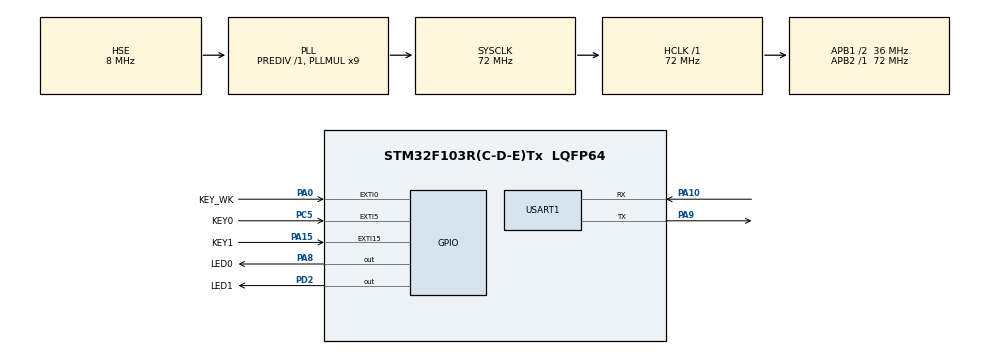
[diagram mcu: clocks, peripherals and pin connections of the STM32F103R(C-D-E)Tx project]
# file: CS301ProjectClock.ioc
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Mcu.Family=STM32F1
Mcu.Name=STM32F103R(C-D-E)Tx
Mcu.Package=LQFP64
NVIC.EXTI0_IRQn=true\:1\:0\:true\:false\:true\:true\:true
NVIC.EXTI15_10_IRQn=true\:1\:2\:true\:false\:true\:true\:true
NVIC.EXTI9_5_IRQn=true\:1\:1\:true\:false\:true\:true\:true
NVIC.PriorityGroup=NVIC_PRIORITYGROUP_2
NVIC.TIM3_IRQn=true\:0\:0\:false\:false\:true\:true\:true
NVIC.USART1_IRQn=true\:0\:0\:false\:false\:true\:true\:true
PA0-WKUP.GPIO_Label=KEY_WK
PA0-WKUP.GPIO_PuPd=GPIO_PULLDOWN
PA0-WKUP.Signal=GPXTI0
PA10.Mode=Asynchronous
PA10.Signal=USART1_RX
PA13.Mode=Serial_Wire
PA13.Signal=SYS_JTMS-SWDIO
PA14.Mode=Serial_Wire
PA14.Signal=SYS_JTCK-SWCLK
PA15.GPIO_Label=KEY1
PA15.GPIO_ModeDefaultEXTI=GPIO_MODE_IT_FALLING
PA15.GPIO_PuPd=GPIO_PULLUP
PA15.Signal=GPXTI15
PA8.GPIO_Label=LED0
PA8.Signal=GPIO_Output
PA9.Mode=Asynchronous
PA9.Signal=USART1_TX
PC5.GPIO_Label=KEY0
PC5.GPIO_ModeDefaultEXTI=GPIO_MODE_IT_FALLING
PC5.GPIO_PuPd=GPIO_PULLUP
PC5.Signal=GPXTI5
PD0-OSC_IN.Mode=HSE-External-Oscillator
PD0-OSC_IN.Signal=RCC_OSC_IN
PD1-OSC_OUT.Mode=HSE-External-Oscillator
PD1-OSC_OUT.Signal=RCC_OSC_OUT
PD2.GPIO_Label=LED1
PD2.Signal=GPIO_Output
ProjectManager.HeapSize=0x200
ProjectManager.StackSize=0x400
ProjectManager.TargetToolchain=SW4STM32
RCC.AHBFreq_Value=72000000
RCC.APB1CLKDivider=RCC_HCLK_DIV2
RCC.APB1Freq_Value=36000000
RCC.APB1TimFreq_Value=72000000
RCC.APB2Freq_Value=72000000
RCC.APB2TimFreq_Value=72000000
RCC.HCLKFreq_Value=72000000
RCC.PLLMUL=RCC_PLL_MUL9
RCC.PLLSourceVirtual=RCC_PLLSOURCE_HSE
RCC.SYSCLKFreq_VALUE=72000000
RCC.SYSCLKSource=RCC_SYSCLKSOURCE_PLLCLK
RCC.USBFreq_Value=72000000
TIM3.Period=9999
TIM3.Prescaler=7199
USART1.VirtualMode=VM_ASYNC
VP_TIM3_VS_ClockSourceINT.Mode=Internal
board=custom

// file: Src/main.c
/* USER CODE BEGIN Header */
/**
  ******************************************************************************
  * @file           : main.c
  * @brief          : Main program body
  ******************************************************************************
  * @attention
  *
  * <h2><center>&copy; Copyright (c) 2019 STMicroelectronics.
  * All rights reserved.</center></h2>
  *
  * This software component is licensed by ST under BSD 3-Clause license,
  * the "License"; You may not use this file except in compliance with the
  * License. You may obtain a copy of the License at:
  *                        opensource.org/licenses/BSD-3-Clause
  *
  ******************************************************************************
  */
/* USER CODE END Header */

#include "main.h"
#include "tim.h"
#include "usart.h"
#include "gpio.h"

/* USER CODE BEGIN Includes */
#include "lcd.h"
#include <stdio.h>
#include <string.h>
#include "command.h"
#include <math.h>
/* USER CODE END Includes */

/* USER CODE BEGIN PD */
#define PI acos(-1)
/* USER CODE END PD */

/* USER CODE BEGIN PV */
uint8_t rxBuffer[100];
char msg[100];
char time_text[20];
uint32_t time_in_sec=0;
/* USER CODE END PV */

uint16_t year=2019;
uint8_t month=12;
uint8_t day=14;

uint32_t time_when_start_setting;
uint8_t mode=0; // 0: sim clock disp, 1: digital clock disp, 2: setting
uint8_t sub_mode=0; // submode setting
uint8_t last_mode=0;  // mode used last time, sim or digit

int setting_values[6]; // values to be set in setting mode

uint8_t month_days[] = {0, 31, 30, 28, 30, 31, 30, 31, 31, 30, 31, 30, 31}; // days in month

uint8_t current_ringing_alarm, current_ringing_countdown;
uint8_t alarm_ringing, countdown_ringing;

my_time alarm[4];
my_time countdown[4];
my_time remember_countdown[4];

uint8_t blink_setting = 0;

uint8_t alarm_set, countdown_set;

void SystemClock_Config(void);
void blink_whole_screen();
void display_real_clock();
void show_analogue(u_int32_t accumulative_second);
void show_digit(u_int32_t accumulative_second);
void show_calendar(u_int16_t year, u_int8_t month, u_int8_t day);
void show_alarm(_Bool whether_alarm);
void show_countdown(_Bool whether_countdown);

int main(void)
{

  /* MCU Configuration--------------------------------------------------------*/

  /* Reset of all peripherals, Initializes the Flash interface and the Systick. */
  HAL_Init();

  /* USER CODE BEGIN Init */
  update_month_day_arr_by_year(year);
  init_alarm_countdown();
  /* USER CODE END Init */

  /* Configure the system clock */
  SystemClock_Config();

  /* USER CODE BEGIN SysInit */
  LCD_Init();
  /* USER CODE END SysInit */

  /* Initialize all configured peripherals */
  MX_GPIO_Init();
  MX_USART1_UART_Init();
  MX_TIM3_Init();
  /* USER CODE BEGIN 2 */
    HAL_TIM_Base_Start_IT(&htim3);
    HAL_UART_Receive_IT(&huart1, (uint8_t *)rxBuffer, 1);

    HAL_GPIO_TogglePin(LED0_GPIO_Port, LED0_Pin);
    HAL_GPIO_TogglePin(LED1_GPIO_Port, LED1_Pin);

    /* USER CODE END 2 */

  /* Infinite loop */
  /* USER CODE BEGIN WHILE */
    uint8_t y = 0;
    char m[20];
    sprintf(time_text, " ");
    while (1)
  {
      LCD_Clear(WHITE);
    /* USER CODE END WHILE */
//        sprintf(m, "hello, y=%d", y++);
//      POINT_COLOR = BLACK;
//      LCD_ShowString(0, 0, 200, 16, 16, (uint8_t*) "        ");
//      LCD_ShowString(0, 0, 200, 16, 16, (uint8_t*) time_text);
//      LCD_ShowString(220,300, 200,16,16, (uint8_t*) "H");
//        setting_display();

        if(alarm_ringing==0 && countdown_ringing==0 && mode!=2 ){
            if(mode==0 || mode==1){
                display_real_clock();
            } else {
                setting_display();
            }
        } else {
            blink_whole_screen();
        }

        // LED0 for alarm
        if(alarm_ringing==1){
            HAL_GPIO_TogglePin(LED0_GPIO_Port, LED0_Pin);
        }

        if(countdown_ringing==1){
            HAL_GPIO_TogglePin(LED1_GPIO_Port, LED1_Pin);
        }

      HAL_Delay(500);

  }
}

void SystemClock_Config(void)
{
  RCC_OscInitTypeDef RCC_OscInitStruct = {0};
  RCC_ClkInitTypeDef RCC_ClkInitStruct = {0};

  /** Initializes the CPU, AHB and APB busses clocks
  */
  RCC_OscInitStruct.OscillatorType = RCC_OSCILLATORTYPE_HSE;
  RCC_OscInitStruct.HSEState = RCC_HSE_ON;
  RCC_OscInitStruct.HSEPredivValue = RCC_HSE_PREDIV_DIV1;
  RCC_OscInitStruct.HSIState = RCC_HSI_ON;
  RCC_OscInitStruct.PLL.PLLState = RCC_PLL_ON;
  RCC_OscInitStruct.PLL.PLLSource = RCC_PLLSOURCE_HSE;
  RCC_OscInitStruct.PLL.PLLMUL = RCC_PLL_MUL9;
  if (HAL_RCC_OscConfig(&RCC_OscInitStruct) != HAL_OK)
  {
    Error_Handler();
  }
  /** Initializes the CPU, AHB and APB busses clocks
  */
  RCC_ClkInitStruct.ClockType = RCC_CLOCKTYPE_HCLK|RCC_CLOCKTYPE_SYSCLK
                              |RCC_CLOCKTYPE_PCLK1|RCC_CLOCKTYPE_PCLK2;
  RCC_ClkInitStruct.SYSCLKSource = RCC_SYSCLKSOURCE_PLLCLK;
  RCC_ClkInitStruct.AHBCLKDivider = RCC_SYSCLK_DIV1;
  RCC_ClkInitStruct.APB1CLKDivider = RCC_HCLK_DIV2;
  RCC_ClkInitStruct.APB2CLKDivider = RCC_HCLK_DIV1;

  if (HAL_RCC_ClockConfig(&RCC_ClkInitStruct, FLASH_LATENCY_2) != HAL_OK)
  {
    Error_Handler();
  }
}

/* USER CODE BEGIN 4 */

// alarm, countdown
void init_alarm_countdown(){
    for(int i=0;i<4;i++){
        alarm[i].hour = 255;
        countdown[i].hour = 255;
    }
    alarm_set =0;
    countdown_set=0;
}

void dismiss_alarm_countdown(){
    if(alarm_ringing==1){
        alarm_ringing = 0;
        alarm[current_ringing_alarm].hour = 255;
        HAL_GPIO_WritePin(LED0_GPIO_Port, LED0_Pin, GPIO_PIN_SET);
    }

    if(countdown_ringing==1){
        countdown_ringing = 0;
        countdown[current_ringing_countdown].hour = 255;
        HAL_GPIO_WritePin(LED1_GPIO_Port, LED1_Pin, GPIO_PIN_SET);
    }
}

void check_for_alarm_countdown(){
    uint8_t hour, minute, second;
    hour = time_in_sec / (60 * 60);
    minute = time_in_sec / 60  - hour*60;
    second = time_in_sec % 60;

    alarm_set = 0;
    countdown_set = 0;

    for(uint8_t i=0;i<4;i++){
        if(alarm[i].hour<24 || alarm[i].hour==254){
            alarm_set = 1;
        }
        if( hour==alarm[i].hour && minute==alarm[i].minute && second==alarm[i].second){
            alarm_ringing=1;
            current_ringing_alarm=i;
            alarm[i].hour=254;
        }
    }

    for(uint8_t i=0;i<4;i++){
        if(countdown[i].hour<24 || countdown[i].hour==254){
            countdown_set = 1;
        }
        if( hour==countdown[i].hour && minute==countdown[i].minute && second==countdown[i].second){
            countdown_ringing=1;
            current_ringing_countdown=i;
            countdown[i].hour=254;
        }
    }
}

// date time util
uint8_t year_is_leap(uint16_t year){
    if(year%4!=0) return 0;
    if(year%100==0 && year%400!=0) return 0;
    return 1;
}

void update_month_day_arr_by_year(uint16_t year){
    if(year_is_leap(year)==1){
        // leap_year
        month_days[2] = 29;
    } else {
        month_days[2] = 28;
    }
}

void move_day_forward(){
    update_month_day_arr_by_year(year);
    day++;
    if(day > month_days[month]){
        day = 1;
        month++;
    }
    if(month>12){
        month = 1;
        year++;
    }
}

uint8_t day_is_valid(uint16_t year, uint8_t month, uint8_t day){
    update_month_day_arr_by_year(year);

    if( !(1970<=year&&year<=2038 && 1<=month&&month<=12   ) ){
        return 0;
    }

    if( (1<=day && day<=month_days[month])  ){
        return 1;
    } else {
        return 0;
    }

}

// settings related

// freeze values for entering setting mode
void freeze_values_for_setting(){
    // prepare frozen time
    uint8_t hour, minute, second;
    hour = time_in_sec / (60 * 60);
    minute = time_in_sec / 60  - hour*60;
    second = time_in_sec % 60;

    // put things into setting values
    setting_values[0] = year;
    setting_values[1] = month;
    setting_values[2] = day;
    setting_values[3] = hour;
    setting_values[4] = minute;
    setting_values[5] = second;
}

void save_set_value_back(){
    year = setting_values[0];
    month = setting_values[1];
    day = setting_values[2];
    time_in_sec = (setting_values[3] * 60 * 60 + setting_values[4] * 60 + setting_values[5]);
}

void setting_highlight_disp(int i){
    if(sub_mode==i){
        POINT_COLOR = RED;
    } else{
        POINT_COLOR = BLACK;
    }
}

// display the setting page
// TODO: highlight the value being set.
void setting_display(){
    LCD_Fill(0, 30, 240, 290, WHITE);

    char tmpStr[30];
    // print hints
    LCD_ShowString(60, 50, 200, 16, 16, (uint8_t*)"Date/Time Set");
    LCD_ShowString(20, 250, 300, 16, 16, (uint8_t*)"[Next] [+] [-]");

    // display date
    sprintf(tmpStr, "%04d", setting_values[0]);
    setting_highlight_disp(0);
    LCD_ShowString(60, 70, 100, 16, 16, (uint8_t*) tmpStr);
    sprintf(tmpStr, "%02d", setting_values[1]);
    setting_highlight_disp(1);
    LCD_ShowString(100, 70, 100, 16, 16, (uint8_t*) tmpStr);
    sprintf(tmpStr, "%02d", setting_values[2]);
    setting_highlight_disp(2);
    LCD_ShowString(120, 70, 100, 16, 16, (uint8_t*) tmpStr);

    // display time
    sprintf(tmpStr, "%02d", setting_values[3]);
    setting_highlight_disp(3);
    LCD_ShowString(60, 90, 100, 16, 16, (uint8_t*) tmpStr);
    sprintf(tmpStr, "%02d", setting_values[4]);
    setting_highlight_disp(4);
    LCD_ShowString(80, 90, 100, 16, 16, (uint8_t*) tmpStr);
    sprintf(tmpStr, "%02d", setting_values[5]);
    setting_highlight_disp(5);
    LCD_ShowString(100, 90, 100, 16, 16, (uint8_t*) tmpStr);

    // debug show current sub mode
//    sprintf(tmpStr, "sub=%d", sub_mode);
//    LCD_ShowString(0, 300, 200, 16, 16, (uint8_t*) tmpStr);

}

void time_display_for_debug(){

//    LCD_DrawRectangle(0, 30, 240, 290);
    LCD_Fill(0, 30, 240, 290, YELLOW);

    char tmpStr[30];
    // print hints
    LCD_ShowString(60, 50, 200, 16, 16, (uint8_t*)"NORMAL DISP!");
    if(mode==0){
        LCD_ShowString(60, 30, 200, 16, 16, (uint8_t*)"SIM");
    } else {
        LCD_ShowString(60, 30, 200, 16, 16, (uint8_t*)"DIGI");
    }
    LCD_ShowString(20, 250, 300, 16, 16, (uint8_t*)"[Tg] [Set] [Dis]");

    // display date
    sprintf(tmpStr, "%04d", year);
    LCD_ShowString(60, 70, 100, 16, 16, (uint8_t*) tmpStr);
    sprintf(tmpStr, "%02d", month);
    LCD_ShowString(100, 70, 100, 16, 16, (uint8_t*) tmpStr);
    sprintf(tmpStr, "%02d", day);
    LCD_ShowString(120, 70, 100, 16, 16, (uint8_t*) tmpStr);

    uint8_t hour, minute, second;
    hour = time_in_sec / (60 * 60);
    minute = time_in_sec / 60  - hour*60;
    second = time_in_sec % 60;

    // display time
    sprintf(tmpStr, "%02d", hour);
    LCD_ShowString(60, 90, 100, 16, 16, (uint8_t*) tmpStr);
    sprintf(tmpStr, "%02d", minute);
    LCD_ShowString(80, 90, 100, 16, 16, (uint8_t*) tmpStr);
    sprintf(tmpStr, "%02d", second);
    LCD_ShowString(100, 90, 100, 16, 16, (uint8_t*) tmpStr);

    // debug show current sub mode
    sprintf(tmpStr, "sub=%d", sub_mode);
    LCD_ShowString(0, 300, 200, 16, 16, (uint8_t*) tmpStr);

};

// utils

void blink_whole_screen(){
    if(blink_setting % 2== 0){
        LCD_Fill(0,0,240, 235, WHITE);
    } else {
        LCD_Fill(0,0,240, 235, RED);
    }
    if(alarm_ringing==1){
        LCD_ShowString(60,120,200,30,24,(uint8_t*) "ALARM");
    } else if(countdown_ringing==1) {
        LCD_ShowString(60,120,200,30,24,(uint8_t*) "COUNTDOWN");
    }
    LCD_ShowString(60,160,200,30,24,(uint8_t*) "RINGING");

    show_alarm(alarm_set);
    show_countdown(countdown_set);

    LCD_ShowString(60,300,200,16,12, (uint8_t*)"[A/D] [Set] [Dismiss]");

}

// real display
void display_real_clock(){
    // switch between analogue and digit
    if(mode==0){ // sim
        show_analogue(time_in_sec);
    } else { // digi
        show_digit(time_in_sec);
    }
    show_calendar(year, month, day);
    show_alarm(alarm_set);
    show_countdown(countdown_set);

    LCD_ShowString(60,300,200,16,12, (uint8_t*)"[A/D] [Set] [Dismiss]");
}

void show_calendar(u_int16_t year, u_int8_t month, u_int8_t day){
    // always show calendar at the bottom of screen
    char tmpStr[30];
    POINT_COLOR = BLUE;
    sprintf(tmpStr, "%04d / %02d / %02d", year, month, day);
    POINT_COLOR = RED;
    LCD_ShowString(60, 240, 140, 30, 16, (uint8_t*) tmpStr);
}

void show_analogue(u_int32_t accumulative_second){
    // get hour, minute, second
    u_int32_t hour = accumulative_second / 3600;
    u_int32_t minute = (accumulative_second % 3600) / 60;
    u_int32_t second = accumulative_second - 3600 * hour - 60 * minute;
    if (hour > 12) hour -= 12;
    u_int32_t x0 = 120;
    u_int32_t y0 = 120;
    double a_hour, a_min, a_sec;
    u_int32_t x_hour, y_hour, x_min, y_min, x_sec, y_sec;
    // get radian
    a_sec = second * 2 * PI / 60;
    a_min = minute * 2 * PI / 60 ;
    a_hour= hour * 2 * PI / 12 + a_min / 12;
    // get end locations of 3 pointers
    x_sec = 120 + (int)(85 * sin(a_sec));
    y_sec = 120 - (int)(85 * cos(a_sec));
    x_min = 120 + (int)(65 * sin(a_min));
    y_min = 120 - (int)(65 * cos(a_min));
    x_hour= 120 + (int)(45 * sin(a_hour));
    y_hour= 120 - (int)(45 * cos(a_hour));
    POINT_COLOR = BLACK;
    LCD_DrawPoint(x0, y0);
    LCD_Draw_Circle(x0, y0, 1);
    LCD_Draw_Circle(x0, y0, 2);
    LCD_Draw_Circle(x0, y0, 100);
    LCD_Draw_Circle(x0, y0, 101);
    POINT_COLOR = RED;
    LCD_DrawLine(x0, y0, x_sec, y_sec);
    POINT_COLOR = BLACK;
    LCD_DrawLine(x0, y0, x_min, y_min);
    LCD_DrawLine(x0, y0, x_hour, y_hour);
    for (int i = 0; i < 12; i++) {
        a_hour= i * 2 * PI / 12;
        POINT_COLOR = BLACK;
        LCD_DrawLine(120 + (int) (95 * sin(a_hour)), 120 - (int) (95 * cos(a_hour)), 120 + (int) (100 * sin(a_hour)),
                     120 - (int) (100 * cos(a_hour)));
    }
}

void show_digit(u_int32_t accumulative_second){
    char tmpStr[30];
    u_int32_t hour = accumulative_second / 3600;
    u_int32_t minute = (accumulative_second % 3600) / 60;
    u_int32_t second = accumulative_second - 3600 * hour - 60 * minute;
    POINT_COLOR = RED;
    sprintf(tmpStr, "%02d:%02d:%02d", hour, minute, second);
    LCD_ShowString(70,95,220,180,24, tmpStr);
}

void show_alarm(_Bool whether_alarm){
    POINT_COLOR = BLACK;
    LCD_DrawRectangle(19, 269, 111, 291);
    if(alarm_ringing==0){ // currently no alarm ringing
        if (!whether_alarm){
            LCD_Fill(20, 270, 110, 290, LGRAY);
        } else {
            LCD_Fill(20, 270, 110, 290, GREEN);
        }
    } else {
        if (blink_setting % 2 == 0){
            LCD_Fill(20, 270, 110, 290, LGRAY);
        } else {
            LCD_Fill(20, 270, 110, 290, RED);
        }
    }
    POINT_COLOR = BLACK;
    LCD_ShowString(47, 275, 50, 20, 16, (uint8_t*)"alarm");
}

void show_countdown(_Bool whether_countdown){
    POINT_COLOR = BLACK;
    LCD_DrawRectangle(129, 269, 221, 291);

    if(countdown_ringing==0){
        if (!whether_countdown){
            LCD_Fill(130, 270, 220, 290, LGRAY);
        } else {
            LCD_Fill(130, 270, 220, 290, GREEN);
        }
    } else {
        if (blink_setting % 2==0){
            LCD_Fill(130, 270, 220, 290, LGRAY);
        } else {
            LCD_Fill(130, 270, 220, 290, RED);
        }
    }

    POINT_COLOR = BLACK;
    LCD_ShowString(140, 275, 70, 20, 16, (uint8_t*)"countdown");
}

void send_message_invoke(){
    HAL_UART_Transmit(&huart1, (uint8_t *) msg, strlen(msg), HAL_MAX_DELAY);
}

// change things

void set_year(uint8_t change){
    if(change==1){
        setting_values[0]++;
    } else {
        setting_values[0]--;
    }

    if(setting_values[0]<2012){
        setting_values[0] = 2012;
    } else if (setting_values[0] > 2021){
        setting_values[0] = 2021;
    }
}

void set_month(uint8_t change){
    if(change==1){
        setting_values[1]++;
    } else {
        setting_values[1]--;
    }

    setting_values[1] = setting_values[1] % 12;
    if(setting_values[1]==0){
        setting_values[1] = 12;
    }

    if( setting_values[1]==2 && setting_values[2] > 28 ){
        // if feb, put bay inside
        setting_values[2] = 28;
    }

    update_month_day_arr_by_year(setting_values[0]);

    // prevent day exceed
    if (setting_values[2] > month_days[setting_values[1]]){
        setting_values[2] = month_days[setting_values[1]];
    }
}

void set_day(uint8_t change){
    int before_day = setting_values[2];

    if(change==1){
        setting_values[2]++;
    } else {
        setting_values[2]--;
    }

    // day validity check
    if(day_is_valid(setting_values[0], setting_values[1], setting_values[2])!=1){
        setting_values[2] = before_day;
    }
}

void set_hour(uint8_t change){
    if(change==1){
        setting_values[3]++;
    } else {
        setting_values[3]--;
    }

    setting_values[3] = (setting_values[3]+24) % 24;
}

void set_minute(uint8_t change){
    if(change==1){
        setting_values[4]++;
    } else {
        setting_values[4]--;
    }

    setting_values[4] = (setting_values[4]+60) % 60;
}

void set_second(uint8_t change){
    if(change==1){
        setting_values[5]++;
    } else {
        setting_values[5]--;
    }

    setting_values[5] = (setting_values[5]+60) % 60;
}

// system interrupt handlers & callbacks
void HAL_UART_RxCpltCallback(UART_HandleTypeDef *huart)
{
    if(huart->Instance==USART1)
    {
        static unsigned char uRx_Data[1024] = {0};
        static unsigned char uLength = 0;
        if(rxBuffer[0] == '\n')
        {
            parse_command(uRx_Data);
            memset(uRx_Data, 0 , sizeof(uRx_Data));
            //HAL_UART_Transmit(&huart1, uRx_Data, uLength, 0xffff);
            uLength = 0;
        }
        else
        {
            uRx_Data[uLength] = rxBuffer[0];
            uLength++;
        }
    }
    HAL_UART_Receive_IT(&huart1, (uint8_t *)rxBuffer, 1);
}

void HAL_GPIO_EXTI_Callback(uint16_t GPIO_Pin)
{
    HAL_Delay(100);
    switch (GPIO_Pin) {
        case KEY0_Pin:
            if (HAL_GPIO_ReadPin(KEY0_GPIO_Port, KEY0_Pin) == GPIO_PIN_RESET) {
                switch (mode){
                    case 0:
                    case 1: // disable alarm/countdown notification
                        dismiss_alarm_countdown();
                        break;
                    case 2: // decrease current value
                        //
                        switch (sub_mode){
                            case 0: set_year(2); break;
                            case 1: set_month(2); break;
                            case 2: set_day(2); break;
                            case 3: set_hour(2); break;
                            case 4: set_minute(2); break;
                            case 5: set_second(2); break;
                        }
                        break;
                }

            }
            break;
        case KEY1_Pin:
            if (HAL_GPIO_ReadPin(KEY1_GPIO_Port, KEY1_Pin) == GPIO_PIN_RESET) {

                switch (mode){
                    case 0:
                    case 1: // enter setting mode in both sim/digi clock
                        last_mode = mode;
                        mode = 2;
                        freeze_values_for_setting();
                        break;
                    case 2: // increase current value
                        //
                        switch (sub_mode){
                            case 0: set_year(1); break;
                            case 1: set_month(1); break;
                            case 2: set_day(1); break;
                            case 3: set_hour(1); break;
                            case 4: set_minute(1); break;
                            case 5: set_second(1); break;
                        }
                        break;
                }

            }
            break;
        case KEY_WK_Pin:
            if (HAL_GPIO_ReadPin(KEY_WK_GPIO_Port, KEY_WK_Pin) == GPIO_PIN_SET) {

                switch (mode){
                    case 0: // sim clock
                        mode = 1;
                        break;
                    case 1: // digi clock
                        mode = 0;
                        break;
                    case 2: // setting
                        if(sub_mode<5){ // need to set next
                            sub_mode++; // move to next
                        } else { // finished setting
                            save_set_value_back(); // save values back
                            sub_mode = 0;
                            mode = last_mode; // back to sim
                        }
                        break;
                }

            }
            break;
        default:
            break;
    }
}

void HAL_TIM_PeriodElapsedCallback(TIM_HandleTypeDef *htim){
    if(htim->Instance==TIM3){
//        sprintf(time_text, "sec=%lu, mode=%d, sub=%d", time_in_sec, mode, sub_mode);
        sprintf(time_text, "sec=%lu", time_in_sec);
        time_in_sec++;

        // reset time for new day
        if(time_in_sec == (24*60*60)){
            move_day_forward();
            time_in_sec = 0;
        }

        // check for alarm and countdown
        check_for_alarm_countdown();

        // do blink
        blink_setting++;
//        sprintf(msg, "sec=%lu, mode=%d, sub=%d", time_in_sec, mode, sub_mode);
//        sprintf(msg, "sec=%lu", time_in_sec);
//        send_message_invoke();
    }
}

/* USER CODE END 4 */

void Error_Handler(void)
{
}

/************************ (C) COPYRIGHT STMicroelectronics *****END OF FILE****/
